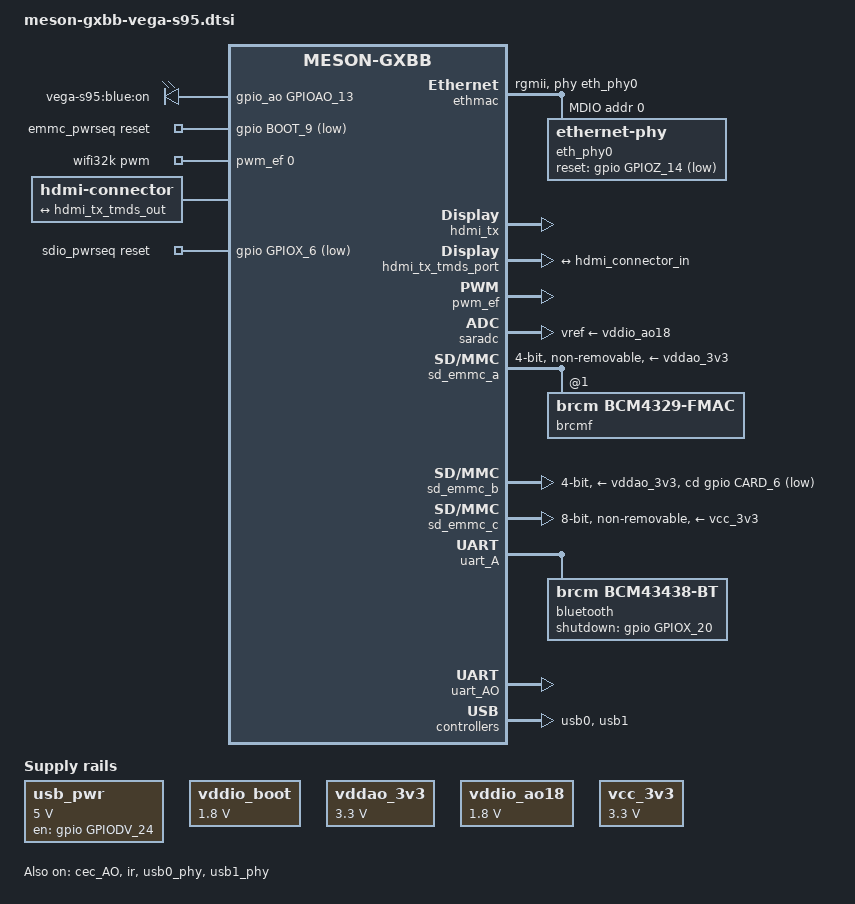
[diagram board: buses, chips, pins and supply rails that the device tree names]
// SPDX-License-Identifier: (GPL-2.0+ OR MIT)
/*
 * Copyright (c) 2016 Andreas Färber
 */

#include "meson-gxbb.dtsi"

/ {
	compatible = "tronsmart,vega-s95", "amlogic,meson-gxbb";

	aliases {
		serial0 = &uart_AO;
		ethernet0 = &ethmac;
	};

	chosen {
		stdout-path = "serial0:115200n8";
	};

	leds {
		compatible = "gpio-leds";

		led-blue {
			label = "vega-s95:blue:on";
			gpios = <&gpio_ao GPIOAO_13 GPIO_ACTIVE_HIGH>;
			default-state = "on";
			panic-indicator;
		};
	};

	usb_pwr: regulator-usb-pwrs {
		compatible = "regulator-fixed";

		regulator-name = "USB_PWR";

		regulator-min-microvolt = <5000000>;
		regulator-max-microvolt = <5000000>;

		gpio = <&gpio GPIODV_24 GPIO_ACTIVE_HIGH>;
		enable-active-high;
	};

	vddio_boot: regulator-vddio_boot {
		compatible = "regulator-fixed";
		regulator-name = "VDDIO_BOOT";
		regulator-min-microvolt = <1800000>;
		regulator-max-microvolt = <1800000>;
	};

	vddao_3v3: regulator-vddao_3v3 {
		compatible = "regulator-fixed";
		regulator-name = "VDDAO_3V3";
		regulator-min-microvolt = <3300000>;
		regulator-max-microvolt = <3300000>;
	};

	vddio_ao18: regulator-vddio_ao18 {
		compatible = "regulator-fixed";
		regulator-name = "VDDIO_AO18";
		regulator-min-microvolt = <1800000>;
		regulator-max-microvolt = <1800000>;
	};

	vcc_3v3: regulator-vcc_3v3 {
		compatible = "regulator-fixed";
		regulator-name = "VCC_3V3";
		regulator-min-microvolt = <3300000>;
		regulator-max-microvolt = <3300000>;
	};

	emmc_pwrseq: emmc-pwrseq {
		compatible = "mmc-pwrseq-emmc";
		reset-gpios = <&gpio BOOT_9 GPIO_ACTIVE_LOW>;
	};

	wifi32k: wifi32k {
		compatible = "pwm-clock";
		#clock-cells = <0>;
		clock-frequency = <32768>;
		pwms = <&pwm_ef 0 30518 0>; /* PWM_E at 32.768KHz */
	};

	hdmi-connector {
		compatible = "hdmi-connector";
		type = "a";

		port {
			hdmi_connector_in: endpoint {
				remote-endpoint = <&hdmi_tx_tmds_out>;
			};
		};
	};

	sdio_pwrseq: sdio-pwrseq {
		compatible = "mmc-pwrseq-simple";
		reset-gpios = <&gpio GPIOX_6 GPIO_ACTIVE_LOW>;
		clocks = <&wifi32k>;
		clock-names = "ext_clock";
	};
};

&cec_AO {
	status = "okay";
	pinctrl-0 = <&ao_cec_pins>;
	pinctrl-names = "default";
	hdmi-phandle = <&hdmi_tx>;
};

&ethmac {
	status = "okay";
	pinctrl-0 = <&eth_rgmii_pins>;
	pinctrl-names = "default";

	phy-handle = <&eth_phy0>;
	phy-mode = "rgmii";

	amlogic,tx-delay-ns = <2>;

	mdio {
		compatible = "snps,dwmac-mdio";
		#address-cells = <1>;
		#size-cells = <0>;

		eth_phy0: ethernet-phy@0 {
			/* Realtek RTL8211F (0x001cc916) */
			reg = <0>;

			reset-assert-us = <10000>;
			reset-deassert-us = <30000>;
			reset-gpios = <&gpio GPIOZ_14 GPIO_ACTIVE_LOW>;

			interrupt-parent = <&gpio_intc>;
			/* MAC_INTR on GPIOZ_15 */
			interrupts = <29 IRQ_TYPE_LEVEL_LOW>;
		};
	};
};

&hdmi_tx {
	status = "okay";
	pinctrl-0 = <&hdmi_hpd_pins>, <&hdmi_i2c_pins>;
	pinctrl-names = "default";
};

&hdmi_tx_tmds_port {
	hdmi_tx_tmds_out: endpoint {
		remote-endpoint = <&hdmi_connector_in>;
	};
};

&ir {
	status = "okay";
	pinctrl-0 = <&remote_input_ao_pins>;
	pinctrl-names = "default";
	linux,rc-map-name = "rc-vega-s9x";
};

&pwm_ef {
	status = "okay";
	pinctrl-0 = <&pwm_e_pins>;
	pinctrl-names = "default";
	clocks = <&clkc CLKID_FCLK_DIV4>;
	clock-names = "clkin0";
};

&saradc {
	status = "okay";
	vref-supply = <&vddio_ao18>;
};

/* Wireless SDIO Module */
&sd_emmc_a {
	status = "okay";
	pinctrl-0 = <&sdio_pins>;
	pinctrl-1 = <&sdio_clk_gate_pins>;
	pinctrl-names = "default", "clk-gate";
	#address-cells = <1>;
	#size-cells = <0>;

	bus-width = <4>;
	cap-sd-highspeed;
	max-frequency = <50000000>;

	non-removable;
	disable-wp;

	/* WiFi firmware requires power to be kept while in suspend */
	keep-power-in-suspend;

	mmc-pwrseq = <&sdio_pwrseq>;

	vmmc-supply = <&vddao_3v3>;
	vqmmc-supply = <&vddio_boot>;

	brcmf: wifi@1 {
		reg = <1>;
		compatible = "brcm,bcm4329-fmac";
	};
};

/* SD card */
&sd_emmc_b {
	status = "okay";
	pinctrl-0 = <&sdcard_pins>;
	pinctrl-1 = <&sdcard_clk_gate_pins>;
	pinctrl-names = "default", "clk-gate";

	bus-width = <4>;
	cap-sd-highspeed;
	max-frequency = <50000000>;
	disable-wp;

	cd-gpios = <&gpio CARD_6 GPIO_ACTIVE_LOW>;

	vmmc-supply = <&vddao_3v3>;
	vqmmc-supply = <&vcc_3v3>;
};

/* eMMC */
&sd_emmc_c {
	status = "okay";
	pinctrl-0 = <&emmc_pins>, <&emmc_ds_pins>;
	pinctrl-1 = <&emmc_clk_gate_pins>;
	pinctrl-names = "default", "clk-gate";

	bus-width = <8>;
	cap-mmc-highspeed;
	max-frequency = <200000000>;
	non-removable;
	disable-wp;
	mmc-ddr-1_8v;
	mmc-hs200-1_8v;

	mmc-pwrseq = <&emmc_pwrseq>;
	vmmc-supply = <&vcc_3v3>;
	vqmmc-supply = <&vddio_boot>;
};

/* This is connected to the Bluetooth module: */
&uart_A {
	status = "okay";
	pinctrl-0 = <&uart_a_pins>, <&uart_a_cts_rts_pins>;
	pinctrl-names = "default";

	bluetooth {
		compatible = "brcm,bcm43438-bt";
		shutdown-gpios = <&gpio GPIOX_20 GPIO_ACTIVE_HIGH>;
		max-speed = <2000000>;
		clocks = <&wifi32k>;
		clock-names = "lpo";
	};
};

/* This UART is brought out to the DB9 connector */
&uart_AO {
	status = "okay";
	pinctrl-0 = <&uart_ao_a_pins>;
	pinctrl-names = "default";
};

&usb0_phy {
	status = "okay";
	phy-supply = <&usb_pwr>;
};

&usb1_phy {
	status = "okay";
};

&usb0 {
	status = "okay";
};

&usb1 {
	status = "okay";
};
